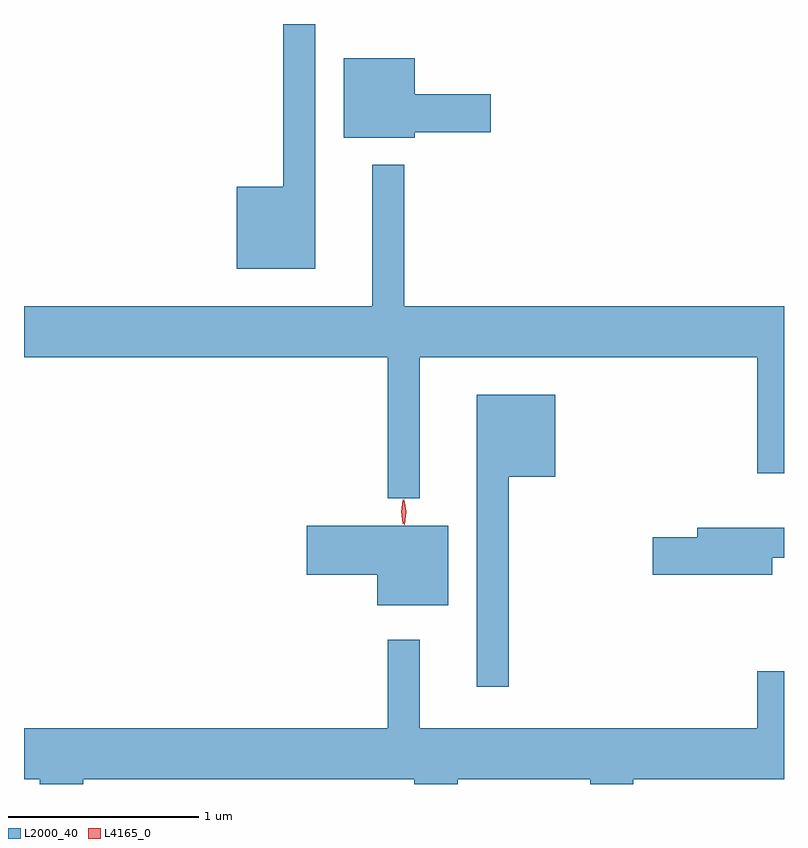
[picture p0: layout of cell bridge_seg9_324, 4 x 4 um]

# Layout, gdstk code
import gdstk
lib = gdstk.Library(unit=1e-6, precision=1e-09)
def P(c, l, *ps):  # polygons
    for p in ps: c.add(gdstk.Polygon(p, *l))
L2000_40 = (2000, 40)
L4165_0 = (4165, 0)

bridge_seg9_324 = lib.new_cell('bridge_seg9_324')
P(bridge_seg9_324, L2000_40, [(732.229,2080.15),(732.061,2080.15),(732.061,2079.294),(731.816,2079.294),(731.816,2078.861),(732.229,2078.861)],
  [(732.754,2079.581),(733.154,2079.581),(733.154,2079.779),(732.754,2079.779),(732.754,2079.969),(732.381,2079.969),(732.381,2079.551),(732.754,2079.551)],
  [(732.779,2078.396),(734.556,2078.396),(734.556,2077.786),(734.697,2077.786),(734.697,2078.664),(732.699,2078.664),(732.699,2079.408),(732.531,2079.408),(732.531,2078.664),(730.697,2078.664),(730.697,2078.396),(732.611,2078.396),(732.611,2077.653),(732.779,2077.653)],
  [(733.249,2077.766),(733.494,2077.766),(733.494,2078.199),(733.081,2078.199),(733.081,2076.663),(733.249,2076.663)],
  [(732.929,2077.509),(732.186,2077.509),(732.186,2077.251),(732.556,2077.251),(732.556,2077.091),(732.929,2077.091)],
  [(734.634,2077.341),(734.697,2077.341),(734.697,2077.499),(734.241,2077.499),(734.241,2077.449),(734.006,2077.449),(734.006,2077.251),(734.634,2077.251)],
  [(731.009,2076.176),(732.751,2076.176),(732.751,2076.15),(732.979,2076.15),(732.979,2076.176),(733.676,2076.176),(733.676,2076.15),(733.904,2076.15),(733.904,2076.176),(734.697,2076.176),(734.697,2076.744),(734.556,2076.744),(734.556,2076.444),(732.779,2076.444),(732.779,2076.908),(732.611,2076.908),(732.611,2076.444),(730.697,2076.444),(730.697,2076.176),(730.781,2076.176),(730.781,2076.15),(731.009,2076.15)])
P(bridge_seg9_324, L4165_0, [(732.699,2077.514),(732.689,2077.582),(732.698,2077.65),(732.699,2077.65),(732.699,2077.65),(732.709,2077.582),(732.7,2077.514),(732.7,2077.514)],
  [(732.691,2077.52),(732.682,2077.584),(732.691,2077.646),(732.692,2077.647),(732.692,2077.646),(732.702,2077.584),(732.692,2077.52),(732.692,2077.52)])

lib.write_gds('bridge_seg9_324.gds')
